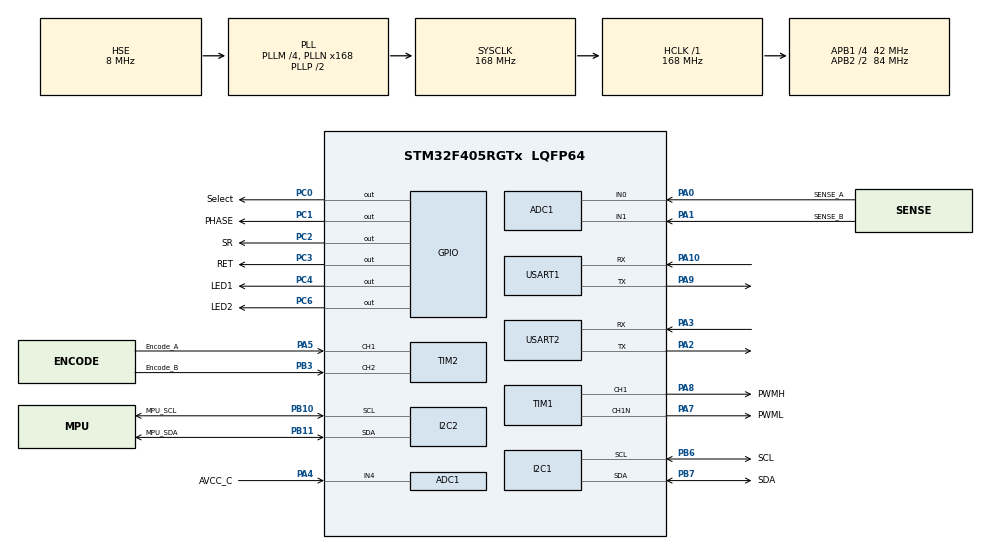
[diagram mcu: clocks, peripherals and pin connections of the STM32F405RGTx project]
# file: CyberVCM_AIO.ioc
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ADC1.Channel-0\#ChannelRegularConversion=ADC_CHANNEL_0
ADC1.Channel-1\#ChannelRegularConversion=ADC_CHANNEL_1
ADC1.Channel-2\#ChannelRegularConversion=ADC_CHANNEL_4
ADC1.NbrOfConversion=3
ADC1.NbrOfConversionFlag=1
ADC1.Rank-0\#ChannelRegularConversion=1
ADC1.Rank-1\#ChannelRegularConversion=2
ADC1.Rank-2\#ChannelRegularConversion=3
ADC1.SamplingTime-0\#ChannelRegularConversion=ADC_SAMPLETIME_3CYCLES
ADC1.SamplingTime-1\#ChannelRegularConversion=ADC_SAMPLETIME_15CYCLES
ADC1.SamplingTime-2\#ChannelRegularConversion=ADC_SAMPLETIME_28CYCLES
ADC1.master=1
Dma.ADC1.0.Direction=DMA_PERIPH_TO_MEMORY
Dma.ADC1.0.FIFOMode=DMA_FIFOMODE_DISABLE
Dma.ADC1.0.Instance=DMA2_Stream0
Dma.ADC1.0.MemDataAlignment=DMA_MDATAALIGN_HALFWORD
Dma.ADC1.0.MemInc=DMA_MINC_ENABLE
Dma.ADC1.0.Mode=DMA_CIRCULAR
Dma.ADC1.0.PeriphDataAlignment=DMA_PDATAALIGN_HALFWORD
Dma.ADC1.0.PeriphInc=DMA_PINC_DISABLE
Dma.ADC1.0.Priority=DMA_PRIORITY_LOW
Dma.Request0=ADC1
FREERTOS.Tasks01=defaultTask,24,128,StartDefaultTask,Default,NULL,Dynamic,NULL,NULL
Mcu.Family=STM32F4
Mcu.Name=STM32F405RGTx
Mcu.Package=LQFP64
NVIC.DMA2_Stream0_IRQn=true\:5\:0\:false\:false\:true\:true\:false\:true
NVIC.PriorityGroup=NVIC_PRIORITYGROUP_4
NVIC.TIM6_DAC_IRQn=true\:15\:0\:false\:false\:true\:false\:false\:true
NVIC.TimeBase=TIM6_DAC_IRQn
NVIC.TimeBaseIP=TIM6
PA0-WKUP.GPIO_Label=SENSE_A
PA0-WKUP.Signal=ADCx_IN0
PA1.GPIO_Label=SENSE_B
PA1.Signal=ADCx_IN1
PA10.Mode=Asynchronous
PA10.Signal=USART1_RX
PA13.Mode=Serial_Wire
PA13.Signal=SYS_JTMS-SWDIO
PA14.Mode=Serial_Wire
PA14.Signal=SYS_JTCK-SWCLK
PA2.Mode=Asynchronous
PA2.Signal=USART2_TX
PA3.Mode=Asynchronous
PA3.Signal=USART2_RX
PA4.GPIO_Label=AVCC_C
PA4.Signal=ADCx_IN4
PA5.GPIO_Label=Encode_A
PA5.Signal=S_TIM2_CH1_ETR
PA7.GPIO_Label=PWML
PA7.Mode=Output Compare1 CH1 CH1N
PA7.Signal=TIM1_CH1N
PA8.GPIO_Label=PWMH
PA8.Signal=S_TIM1_CH1
PA9.Mode=Asynchronous
PA9.Signal=USART1_TX
PB10.GPIO_Label=MPU_SCL
PB10.Mode=I2C
PB10.Signal=I2C2_SCL
PB11.GPIO_Label=MPU_SDA
PB11.Mode=I2C
PB11.Signal=I2C2_SDA
PB3.GPIO_Label=Encode_B
PB3.Signal=S_TIM2_CH2
PB6.GPIO_Label=SCL
PB6.Mode=I2C
PB6.Signal=I2C1_SCL
PB7.GPIO_Label=SDA
PB7.Mode=I2C
PB7.Signal=I2C1_SDA
PC0.GPIO_Label=Select
PC0.Signal=GPIO_Output
PC1.GPIO_Label=PHASE
PC1.Signal=GPIO_Output
PC2.GPIO_Label=SR
PC2.Signal=GPIO_Output
PC3.GPIO_Label=RET
PC3.Signal=GPIO_Output
PC4.GPIO_Label=LED1
PC4.Signal=GPIO_Output
PC6.GPIO_Label=LED2
PC6.Signal=GPIO_Output
PH0-OSC_IN.Mode=HSE-External-Oscillator
PH0-OSC_IN.Signal=RCC_OSC_IN
PH1-OSC_OUT.Mode=HSE-External-Oscillator
PH1-OSC_OUT.Signal=RCC_OSC_OUT
ProjectManager.HeapSize=0x600
ProjectManager.StackSize=0x600
ProjectManager.TargetToolchain=MDK-ARM V5.32
RCC.48MHZClocksFreq_Value=84000000
RCC.AHBFreq_Value=168000000
RCC.APB1CLKDivider=RCC_HCLK_DIV4
RCC.APB1Freq_Value=42000000
RCC.APB1TimFreq_Value=84000000
RCC.APB2CLKDivider=RCC_HCLK_DIV2
RCC.APB2Freq_Value=84000000
RCC.APB2TimFreq_Value=168000000
RCC.CortexFreq_Value=168000000
RCC.HCLKFreq_Value=168000000
RCC.HSE_VALUE=8000000
RCC.HSI_VALUE=16000000
RCC.LSE_VALUE=32768
RCC.PLLM=4
RCC.PLLN=168
RCC.PLLSourceVirtual=RCC_PLLSOURCE_HSE
RCC.SYSCLKFreq_VALUE=168000000
RCC.SYSCLKSource=RCC_SYSCLKSOURCE_PLLCLK
RCC.VCOOutputFreq_Value=336000000
SH.ADCx_IN0.0=ADC1_IN0,IN0
SH.ADCx_IN1.0=ADC1_IN1,IN1
SH.ADCx_IN4.0=ADC1_IN4,IN4
SH.S_TIM1_CH1.0=TIM1_CH1,Output Compare1 CH1 CH1N
SH.S_TIM2_CH1_ETR.0=TIM2_CH1,Encoder_Interface
SH.S_TIM2_CH2.0=TIM2_CH2,Encoder_Interface
TIM1.Channel-Output\ Compare1\ CH1\ CH1N=TIM_CHANNEL_1
USART1.VirtualMode=VM_ASYNC
USART2.VirtualMode=VM_ASYNC
VP_FREERTOS_VS_CMSIS_V2.Mode=CMSIS_V2
VP_SYS_VS_tim6.Mode=TIM6
board=custom

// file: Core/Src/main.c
/* USER CODE BEGIN Header */
/**
  ******************************************************************************
  * @file           : main.c
  * @brief          : Main program body
  ******************************************************************************
  * @attention
  *
  * <h2><center>&copy; Copyright (c) 2022 STMicroelectronics.
  * All rights reserved.</center></h2>
  *
  * This software component is licensed by ST under Ultimate Liberty license
  * SLA0044, the "License"; You may not use this file except in compliance with
  * the License. You may obtain a copy of the License at:
  *                             www.st.com/SLA0044
  *
  ******************************************************************************
  */
/* USER CODE END Header */
#include "main.h"
#include "cmsis_os.h"
#include "adc.h"
#include "dma.h"
#include "i2c.h"
#include "tim.h"
#include "usart.h"
#include "gpio.h"

/* USER CODE BEGIN Includes */
#include "AM26C32.h"
#include "MotorADC.h"
#include "VCMControl.h"
#include "param.h"
#include "SpeedPID.h"
#include "tof200f_uart.h"
#include "oled.h"
/* USER CODE END Includes */

void SystemClock_Config(void);
void MX_FREERTOS_Init(void);

int main(void)
{

  /* MCU Configuration--------------------------------------------------------*/

  /* Reset of all peripherals, Initializes the Flash interface and the Systick. */
  HAL_Init();

  /* Configure the system clock */
  SystemClock_Config();

  /* Initialize all configured peripherals */
  MX_GPIO_Init();
  MX_DMA_Init();
  MX_ADC1_Init();
  MX_I2C1_Init();
  MX_I2C2_Init();
  MX_TIM1_Init();
  MX_TIM2_Init();
  MX_USART1_UART_Init();
  MX_USART2_UART_Init();
  /* USER CODE BEGIN 2 */

  /** grating position sensor initialization **/
  VCMEncoderInit();
  HAL_TIM_PWM_Start(&htim1, TIM_CHANNEL_1);

  /** human-machine interaction **/
  //<1> OLED Display
  OLED_Init();
  OLED_Windows_Style1();

  //<2> LED Display
  LED_Twinkle(0, 5);
  LED_Twinkle(1, 5);

  //<3> USART Display
  USART_Debug();

  /* USER CODE END 2 */

  /* Init scheduler */
  osKernelInitialize();  /* Call init function for freertos objects (in freertos.c) */
  MX_FREERTOS_Init();
  /* Start scheduler */
  osKernelStart();

  /* We should never get here as control is now taken by the scheduler */
  /* Infinite loop */
  while (1)
  {

  }
}

void SystemClock_Config(void)
{
  RCC_OscInitTypeDef RCC_OscInitStruct = {0};
  RCC_ClkInitTypeDef RCC_ClkInitStruct = {0};

  /** Configure the main internal regulator output voltage
  */
  __HAL_RCC_PWR_CLK_ENABLE();
  __HAL_PWR_VOLTAGESCALING_CONFIG(PWR_REGULATOR_VOLTAGE_SCALE1);
  /** Initializes the RCC Oscillators according to the specified parameters
  * in the RCC_OscInitTypeDef structure.
  */
  RCC_OscInitStruct.OscillatorType = RCC_OSCILLATORTYPE_HSE;
  RCC_OscInitStruct.HSEState = RCC_HSE_ON;
  RCC_OscInitStruct.PLL.PLLState = RCC_PLL_ON;
  RCC_OscInitStruct.PLL.PLLSource = RCC_PLLSOURCE_HSE;
  RCC_OscInitStruct.PLL.PLLM = 4;
  RCC_OscInitStruct.PLL.PLLN = 168;
  RCC_OscInitStruct.PLL.PLLP = RCC_PLLP_DIV2;
  RCC_OscInitStruct.PLL.PLLQ = 4;
  if (HAL_RCC_OscConfig(&RCC_OscInitStruct) != HAL_OK)
  {
    Error_Handler();
  }
  /** Initializes the CPU, AHB and APB buses clocks
  */
  RCC_ClkInitStruct.ClockType = RCC_CLOCKTYPE_HCLK|RCC_CLOCKTYPE_SYSCLK
                              |RCC_CLOCKTYPE_PCLK1|RCC_CLOCKTYPE_PCLK2;
  RCC_ClkInitStruct.SYSCLKSource = RCC_SYSCLKSOURCE_PLLCLK;
  RCC_ClkInitStruct.AHBCLKDivider = RCC_SYSCLK_DIV1;
  RCC_ClkInitStruct.APB1CLKDivider = RCC_HCLK_DIV4;
  RCC_ClkInitStruct.APB2CLKDivider = RCC_HCLK_DIV2;

  if (HAL_RCC_ClockConfig(&RCC_ClkInitStruct, FLASH_LATENCY_5) != HAL_OK)
  {
    Error_Handler();
  }
}

void HAL_TIM_PeriodElapsedCallback(TIM_HandleTypeDef *htim)
{
  if (htim->Instance == TIM6) {
    HAL_IncTick();
  }
}

void Error_Handler(void)
{
  __disable_irq();
  while (1)
  {
  }
}

/************************ (C) COPYRIGHT STMicroelectronics *****END OF FILE****/

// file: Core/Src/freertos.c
/* USER CODE BEGIN Header */
/**
  ******************************************************************************
  * File Name          : freertos.c
  * Description        : Code for freertos applications
  ******************************************************************************
  * @attention
  *
  * <h2><center>&copy; Copyright (c) 2022 STMicroelectronics.
  * All rights reserved.</center></h2>
  *
  * This software component is licensed by ST under Ultimate Liberty license
  * SLA0044, the "License"; You may not use this file except in compliance with
  * the License. You may obtain a copy of the License at:
  *                             www.st.com/SLA0044
  *
  ******************************************************************************
  */
/* USER CODE END Header */

#include "FreeRTOS.h"
#include "task.h"
#include "main.h"
#include "cmsis_os.h"

/* USER CODE BEGIN Includes */
#include "usart.h"
#include "math.h"
#include "stdlib.h"
#include "oled.h"
#include "AM26C32.h"
/* USER CODE END Includes */

/* Definitions for defaultTask */
osThreadId_t defaultTaskHandle;
const osThreadAttr_t defaultTask_attributes = {
  .name = "defaultTask",
  .stack_size = 128 * 4,
  .priority = (osPriority_t) osPriorityNormal,
};

void StartDefaultTask(void *argument);

void MX_FREERTOS_Init(void); /* (MISRA C 2004 rule 8.1) */

void MX_FREERTOS_Init(void) {

  /* Create the thread(s) */
  /* creation of defaultTask */
  defaultTaskHandle = osThreadNew(StartDefaultTask, NULL, &defaultTask_attributes);

}

void StartDefaultTask(void *argument)
{
  /* USER CODE BEGIN StartDefaultTask */
  /* Infinite loop */
  float temp = 0.0;
  OLED_Windows_Style1();
  for(;;)
  {
	  temp = VCMEncoderGetPosition();
	  printf("%f\n", temp);
	  HAL_GPIO_TogglePin(LED1_GPIO_Port, LED1_Pin);
	  osDelay(100);
	  HAL_GPIO_TogglePin(LED2_GPIO_Port, LED2_Pin);
  }
  /* USER CODE END StartDefaultTask */
}

/************************ (C) COPYRIGHT STMicroelectronics *****END OF FILE****/
